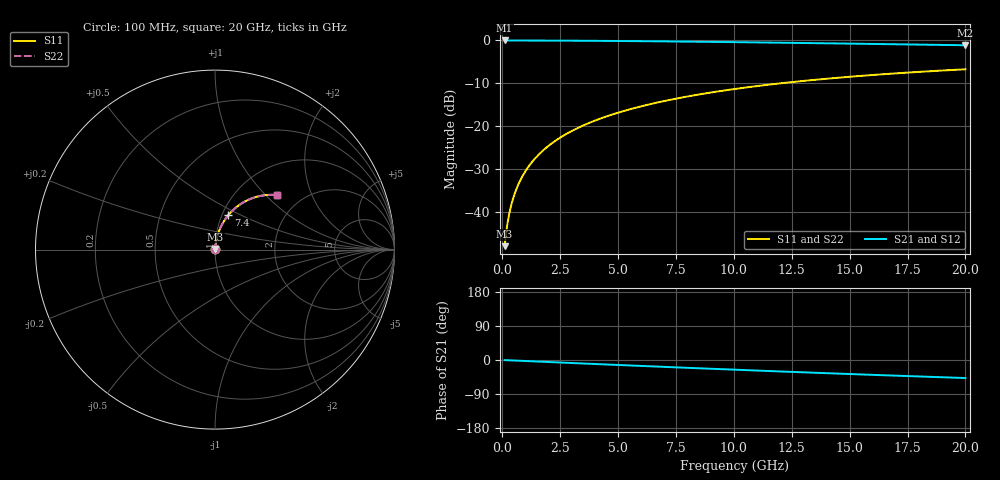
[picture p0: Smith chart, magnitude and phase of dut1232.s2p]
! Touchstone file exported from HFSS 2026.1.0
!  File:  C:/ffzhzh/LocalFiles/Ansys_Project_Files/temp_train_BSMRDL_1232_1783176995_18472.aedt
!  Generated:  10:58:09 PM Jul  4, 2026
!  Design:  BSMRDL
!  Project:  temp_train_BSMRDL_1232_1783176995_18472
! Variables:
!  h_bsmrdl = 4.84um
!  h_ox = 20um
!  h_rdl = 5um
!  h_sub = 80um
!  h_tmrdl = 5um
!  h_tsv = 80um
!  h_via = 3um
!  l_bsmrdl = 684.02um
!  l_sub = 1084.02um
!  l_tmrdl = 200um
!  m_sub = 200um
!  pitch = 57.48um
!  r_tsv = 6um
!  s_tmrdl = 10um
!  w_bsmrdl = 21.4um
!  w_sub = 500um
!  w_tmrdl = 12um
!  x_tsv_center1 = 206um
!  x_tsv_center2 = 911.42um
!  x_tsv_center3 = 1123.42um
!  x_tsv_center4 = 1828.84um
!  x_tsv_center5 = 2040.84um
!  x_tsv_center6 = 2746.26um
# GHz S MA R 50.000000
! Terminal data exported
! Port[1] = BSM_RDL1_1_T1
! Port[2] = BSM_RDL1_1_T2
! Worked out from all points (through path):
!   200 points, 100 MHz to 20 GHz, reference 50 ohm
!   highest |S21| = -0.02 dB at 100 MHz (marker M1); lowest = -1.1 dB at 20 GHz (marker M2)
!   group delay of S21, straight-line fit = 6.62 ps
!   lowest |S11| = -47.9 dB at 100 MHz (marker M3), VSWR 1.01, Z = 50.3 + j0.317 ohm
!   |S11| at or under -10 dB: start of sweep to 12.01 GHz
!   |S22| runs from -47.9 to -6.7 dB; largest |S21 - S12| = 1.8e-14
!   S11 on the Smith chart (normalised r, x): 100 MHz: 1.01, +0.01; 7.4 GHz: 1.07, +0.43; 20 GHz: 1.52, +1.17
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0.1  0.004028 51.5  0.9975 -0.3  0.9975 -0.3  0.004028 51.5
! Gamma 0 0 0 0
! Port Impedance 50 0 50 0
0.2  0.006764 66.6  0.9974 -0.6  0.9974 -0.6  0.006764 66.6
0.3  0.009625 72.6  0.9972 -0.8  0.9972 -0.8  0.009625 72.6
0.4  0.01251 75.8  0.9971 -1.1  0.9971 -1.1  0.01251 75.8
0.5  0.01541 77.8  0.997 -1.4  0.997 -1.4  0.01541 77.8
0.7  0.02125 80.0  0.9968 -1.9  0.9968 -1.9  0.02125 80.0
0.8  0.02418 80.6  0.9967 -2.2  0.9967 -2.2  0.02418 80.6
1  0.03006 81.3  0.9964 -2.7  0.9964 -2.7  0.03006 81.3
1.2  0.03594 81.6  0.9961 -3.2  0.9961 -3.2  0.03594 81.6
1.4  0.04182 81.7  0.9958 -3.8  0.9958 -3.8  0.04182 81.7
1.7  0.05061 81.5  0.9952 -4.5  0.9952 -4.5  0.05061 81.5
2  0.05937 81.1  0.9945 -5.3  0.9945 -5.3  0.05937 81.1
2.7  0.07963 79.8  0.9926 -7.2  0.9926 -7.2  0.07963 79.8
3.5  0.1024 78.0  0.9899 -9.3  0.9899 -9.3  0.1024 78.0
4.2  0.122 76.4  0.9871 -11.1  0.9871 -11.1  0.122 76.4
5  0.144 74.5  0.9836 -13.1  0.9836 -13.1  0.144 74.5
6.8  0.1918 70.2  0.9743 -17.7  0.9743 -17.7  0.1918 70.2
7.4  0.2073 68.8  0.9708 -19.2  0.9708 -19.2  0.2073 68.7
10.1  0.2732 62.4  0.9534 -25.8  0.9534 -25.8  0.2732 62.4
13.4  0.3455 55.0  0.9289 -33.5  0.9289 -33.5  0.3455 55.0
16.7  0.408 47.9  0.903 -40.7  0.903 -40.7  0.408 47.9
20  0.4608 41.2  0.8772 -47.6  0.8772 -47.6  0.4608 41.1
